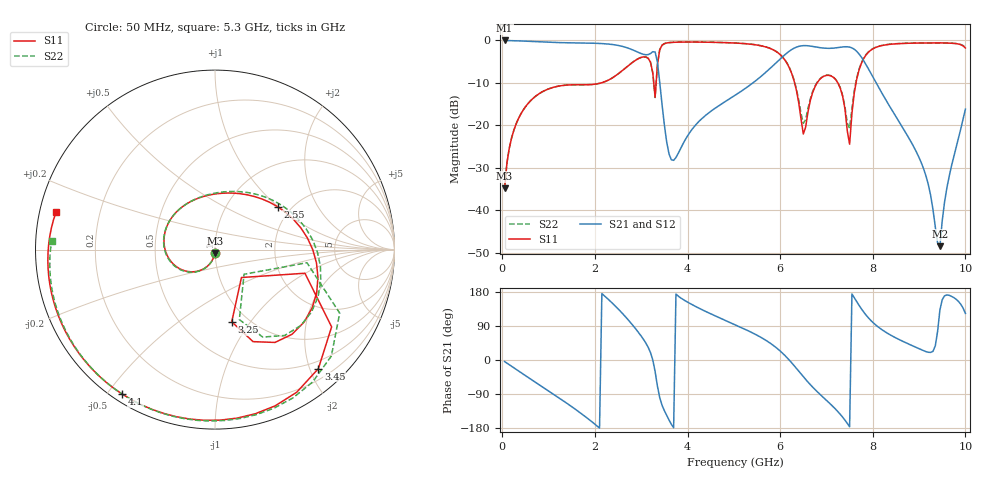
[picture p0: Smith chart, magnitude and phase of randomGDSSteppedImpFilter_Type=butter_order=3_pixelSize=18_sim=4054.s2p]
! freq	dB(S11)	phase(S11)	dB(S12)	phase(S12)
!  dB(S21)	phase(S21)	dB(S22)	phase(S22)
!S-par simulation data
#  GHz  S  DB  R 50
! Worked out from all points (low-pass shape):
!   200 points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, 50 MHz to 10 GHz, reference 50 ohm
!   highest |S21| = -0.01 dB at 50 MHz (marker M1); lowest = -48.5 dB at 9.45 GHz (marker M2)
!   |S21| within 3 dB of the highest: start of sweep to 2.978 GHz; 6.142 GHz to 7.689 GHz (1.547 GHz wide, 22.4 % of centre) (the widest 2 of 3)
!   lowest |S11| = -34.9 dB at 50 MHz (marker M3), VSWR 1.04, Z = 49.9 - j1.8 ohm
!   |S11| at or under -10 dB: start of sweep to 2.139 GHz; 6.311 GHz to 6.798 GHz (487.1 MHz wide, 7.43 % of centre); 7.245 GHz to 7.639 GHz (393.2 MHz wide, 5.28 % of centre) (the widest 3 of 4)
!   |S22| runs from -34.9 to -0.4 dB; largest |S21 - S12| = 0
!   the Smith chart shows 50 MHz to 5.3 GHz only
!   S11 on the Smith chart (normalised r, x): 50 MHz: 1.00, -0.04; 2.55 GHz: 1.70, +0.99; 3.25 GHz: 0.84, -0.82; 3.45 GHz: 0.37, -2.14; 4.1 GHz: 0.03, -0.55; 5.3 GHz: 0.05, +0.12
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0.05  -34.86 -93.6  -0.01 -4.2  -0.01 -4.2  -34.86 -93.5
0.5  -15.64 -132.0  -0.18 -41.2  -0.18 -41.2  -15.64 -131.1
1.75  -10.46 122.1  -0.61 -145.5  -0.61 -145.5  -10.46 126.2
2.55  -7.48 34.5  -1.29 128.7  -1.29 128.7  -7.47 40.6
2.95  -4.23 -22.8  -2.88 71.3  -2.88 71.3  -4.22 -16.6
3.25  -7.68 -76.9  -2.66 0.0  -2.66 0.0  -7.69 -70.8
3.3  -13.38 -46.6  -2.72 -30.3  -2.72 -30.3  -13.46 -40.3
3.4  -2.16 -33.5  -9.90 -99.5  -9.90 -99.5  -2.16 -27.0
3.45  -1.13 -49.0  -15.12 -119.3  -15.12 -119.3  -1.12 -42.5
3.65  -0.47 -82.5  -28.13 -169.5  -28.13 -169.5  -0.47 -75.8
4.1  -0.38 -122.6  -20.93 146.0  -20.93 146.0  -0.37 -115.2
5.05  -0.63 -179.1  -12.77 91.9  -12.77 91.9  -0.62 -169.4
5.3  -0.82 166.7  -10.91 77.8  -10.91 77.8  -0.81 177.1
6.3  -9.50 83.6  -1.84 -14.7  -1.84 -14.7  -9.31 100.9
6.5  -22.05 120.5  -1.23 -44.1  -1.23 -44.1  -19.55 136.7
6.7  -12.34 177.2  -1.41 -71.3  -1.41 -71.3  -12.07 -173.4
7.2  -9.24 132.0  -1.76 -130.1  -1.76 -130.1  -9.19 148.7
7.5  -24.46 -165.2  -1.57 -176.3  -1.57 -176.3  -20.70 -156.6
7.75  -5.51 -152.5  -3.88 135.8  -3.88 135.8  -5.35 -140.1
8.35  -0.94 145.5  -15.26 68.2  -15.26 68.2  -0.91 163.0
9.45  -0.57 92.0  -48.49 132.3  -48.49 132.3  -0.57 115.0
10  -1.79 65.7  -16.21 122.9  -16.21 122.9  -1.66 91.1
